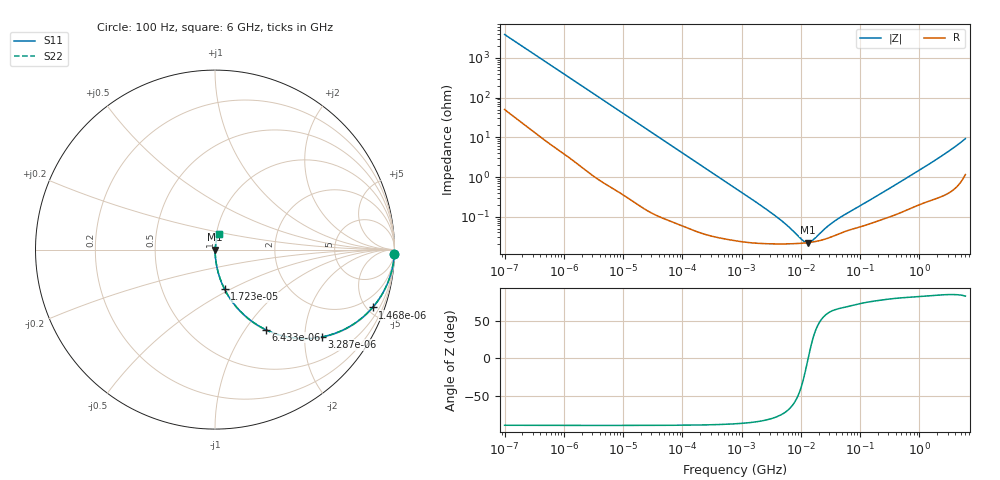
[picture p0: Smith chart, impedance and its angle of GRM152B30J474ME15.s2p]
!Murata Part Number: GRM152B30J474ME15
!These Parameters are Measured in Series Mode Connection
!Data Generated on Mar 30, 2021
!  o--ll--o
!Port1  Port2
!  o------o
!Operation Temp=25[degC], DC Bias Voltage=0[V]
!Freq. Start=100[Hz] Stop=6[GHz] 401[Steps]
# Hz S RI R 50
!Freq.(Hz) S11(Real) S11(Imag) S21(Real) S21(Imag) S12(Real) S12(Imag) S22(Real) S22(Imag)
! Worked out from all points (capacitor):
!   401 points, 100 Hz to 6 GHz, reference 50 ohm
!   read as one part in series: C = 406 nF near 109 Hz
!   lowest |Z| = 22.2 mohm at 13.01 MHz (marker M1)
!   series resonance near 13.3 MHz, so ESL is about 350 pH
!   S11 on the Smith chart (normalised r, x): 100 Hz: 2, -78; 1.468 kHz: 1.05, -5.43; 3.287 kHz: 1.02, -2.44; 6.433 kHz: 1.01, -1.25; 17.23 kHz: 1.00, -0.47; 6 GHz: 1.02, +0.18
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100  0.999 -0.0255  0.00098 0.0255  0.00098 0.0255  0.999 -0.0255
458  0.9856 -0.114  0.0144 0.114  0.0144 0.114  0.9856 -0.114
897  0.9496 -0.214  0.0504 0.214  0.0504 0.214  0.9496 -0.214
1468  0.8782 -0.3224  0.1218 0.3224  0.1218 0.3224  0.8782 -0.3224
2008  0.7959 -0.3986  0.2041 0.3986  0.2041 0.3986  0.7959 -0.3986
3287  0.5964 -0.4865  0.4036 0.4865  0.4036 0.4865  0.5964 -0.4865
4496  0.4431 -0.4926  0.5569 0.4926  0.5569 0.4926  0.4431 -0.4926
6433  0.2819 -0.4457  0.7181 0.4457  0.7181 0.4457  0.2819 -0.4457
10066  0.14 -0.3426  0.86 0.3426  0.86 0.3426  0.14 -0.3426
17227  0.0538 -0.2212  0.9462 0.2212  0.9462 0.2212  0.0538 -0.2212
40335  0.011 -0.0992  0.989 0.0992  0.989 0.0992  0.011 -0.0992
129199  0.0015 -0.0315  0.9985 0.0315  0.9985 0.0315  0.0015 -0.0315
774597  0.000276 -0.00531  0.9997 0.00531  0.9997 0.00531  0.000276 -0.00531
3549919  0.000208 -0.00108  0.9998 0.00108  0.9998 0.00108  0.000208 -0.00108
6075234  0.000207 -0.000539  0.9998 0.000539  0.9998 0.000539  0.000207 -0.000539
1.039699e7  0.000214 -0.000154  0.9998 0.000154  0.9998 0.000154  0.000214 -0.000154
1.300572e7  0.000221 -1.35e-05  0.9998 1.35e-05  0.9998 1.35e-05  0.000221 -1.35e-05
1.555665e7  0.000229 9.71e-05  0.9998 -9.71e-05  0.9998 -9.71e-05  0.000229 9.71e-05
3.983537e7  0.000348 0.000756  0.9997 -0.000756  0.9997 -0.000756  0.000348 0.000756
3.124326e8  0.001 0.00504  0.999 -0.00504  0.999 -0.00504  0.001 0.00504
1.873145e9  0.00351 0.0265  0.9965 -0.0265  0.9965 -0.0265  0.00351 0.0265
6e9  0.0195 0.0894  0.9805 -0.0894  0.9805 -0.0894  0.0195 0.0894
